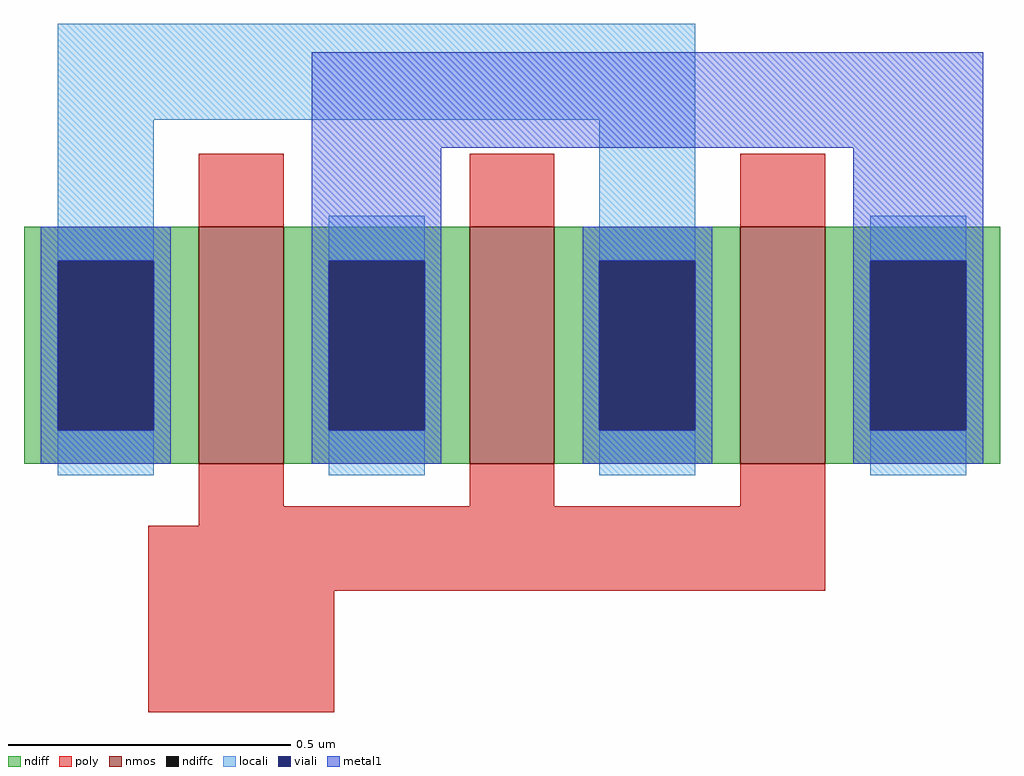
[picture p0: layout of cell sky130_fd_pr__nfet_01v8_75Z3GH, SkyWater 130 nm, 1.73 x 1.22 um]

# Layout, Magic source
magic
tech sky130A
magscale 1 2
<< nmos >>
rect -111 -42 -81 42
rect -15 -42 15 42
rect 81 -42 111 42
<< ndiff >>
rect -173 30 -111 42
rect -173 -30 -161 30
rect -127 -30 -111 30
rect -173 -42 -111 -30
rect -81 30 -15 42
rect -81 -30 -65 30
rect -31 -30 -15 30
rect -81 -42 -15 -30
rect 15 30 81 42
rect 15 -30 31 30
rect 65 -30 81 30
rect 15 -42 81 -30
rect 111 30 173 42
rect 111 -30 127 30
rect 161 -30 173 30
rect 111 -42 173 -30
<< ndiffc >>
rect -161 -30 -127 30
rect -65 -30 -31 30
rect 31 -30 65 30
rect 127 -30 161 30
<< poly >>
rect -111 42 -81 68
rect -15 42 15 68
rect 81 42 111 68
rect -111 -57 -81 -42
rect -15 -57 15 -42
rect 81 -57 111 -42
rect -111 -64 111 -57
rect -129 -87 111 -64
rect -129 -130 -63 -87
<< locali >>
rect -161 80 65 114
rect -161 30 -127 80
rect -161 -46 -127 -30
rect -65 30 -31 46
rect -65 -46 -31 -30
rect 31 30 65 80
rect 31 -46 65 -30
rect 127 30 161 46
rect 127 -46 161 -30
<< viali >>
rect -161 -30 -127 30
rect -65 -30 -31 30
rect 31 -30 65 30
rect 127 -30 161 30
<< metal1 >>
rect -71 70 167 104
rect -167 30 -121 42
rect -167 -30 -161 30
rect -127 -30 -121 30
rect -167 -42 -121 -30
rect -71 30 -25 70
rect -71 -30 -65 30
rect -31 -30 -25 30
rect -71 -42 -25 -30
rect 25 30 71 42
rect 25 -30 31 30
rect 65 -30 71 30
rect 25 -42 71 -30
rect 121 30 167 70
rect 121 -30 127 30
rect 161 -30 167 30
rect 121 -42 167 -30
<< properties >>
string FIXED_BBOX -258 -199 258 199
string gencell sky130_fd_pr__nfet_01v8
string library sky130
string parameters w 0.42 l 0.15 m 1 nf 3 diffcov 100 polycov 100 guard 1 glc 1 grc 1 gtc 1 gbc 1 tbcov 100 rlcov 100 topc 1 botc 1 poverlap 0 doverlap 1 lmin 0.15 wmin 0.42 compatible {sky130_fd_pr__nfet_01v8 sky130_fd_pr__nfet_01v8_lvt  sky130_fd_bs_flash__special_sonosfet_star  sky130_fd_pr__nfet_g5v0d10v5 sky130_fd_pr__nfet_05v0_nvt  sky130_fd_pr__nfet_03v3_nvt} full_metal 1 viasrc 100 viadrn 100 viagate 100 viagb 0 viagr 0 viagl 0 viagt 0
<< end >>
